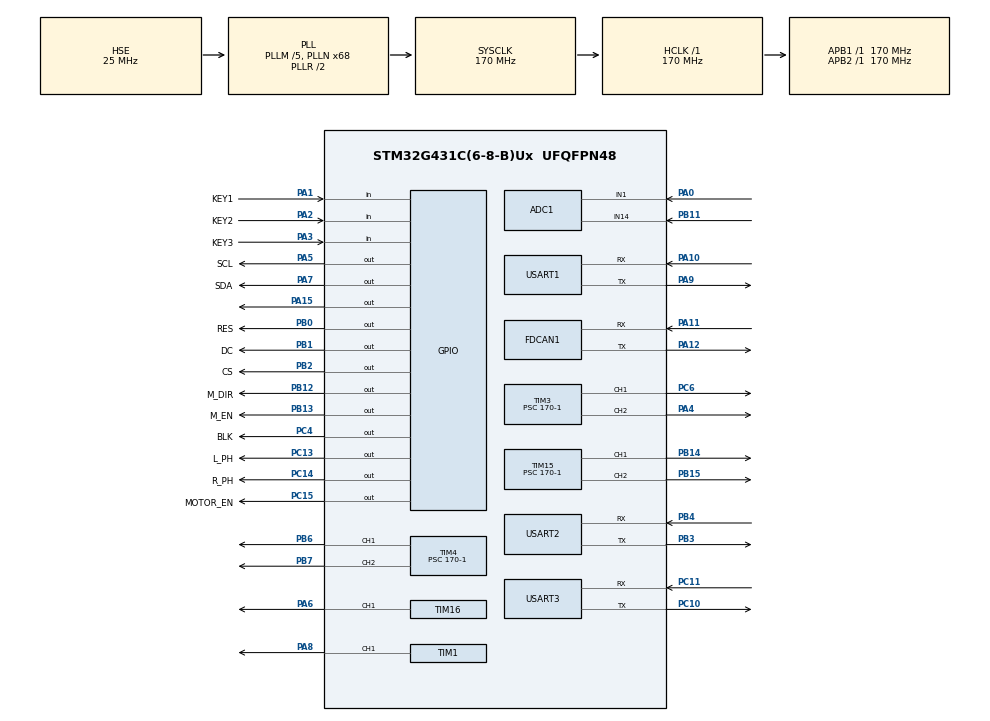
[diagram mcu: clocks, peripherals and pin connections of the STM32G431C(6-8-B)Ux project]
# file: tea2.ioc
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ADC1.Channel-0\#ChannelRegularConversion=ADC_CHANNEL_1
ADC1.NbrOfConversionFlag=1
ADC1.OffsetNumber-0\#ChannelRegularConversion=ADC_OFFSET_NONE
ADC1.Rank-0\#ChannelRegularConversion=1
ADC1.SamplingTime-0\#ChannelRegularConversion=ADC_SAMPLETIME_2CYCLES_5
ADC1.master=1
FDCAN1.CalculateBaudRateNominal=2125000
FDCAN1.CalculateTimeBitNominal=470
FDCAN1.CalculateTimeQuantumNominal=94.11764705882354
Mcu.Family=STM32G4
Mcu.Name=STM32G431C(6-8-B)Ux
Mcu.Package=UFQFPN48
NVIC.PriorityGroup=NVIC_PRIORITYGROUP_2
NVIC.TIM1_TRG_COM_TIM17_IRQn=true\:1\:2\:true\:false\:true\:true\:true\:true
NVIC.TIM7_IRQn=true\:1\:1\:true\:false\:true\:true\:true\:true
NVIC.USART2_IRQn=true\:0\:0\:false\:false\:true\:true\:true\:true
PA0.Mode=IN1-Single-Ended
PA0.Signal=ADC1_IN1
PA1.GPIO_Label=KEY1
PA1.GPIO_PuPd=GPIO_PULLUP
PA1.Signal=GPIO_Input
PA10.Mode=Asynchronous
PA10.Signal=USART1_RX
PA11.Mode=FDCAN_Activate
PA11.Signal=FDCAN1_RX
PA12.Mode=FDCAN_Activate
PA12.Signal=FDCAN1_TX
PA13.Mode=Serial_Wire
PA13.Signal=SYS_JTMS-SWDIO
PA14.Mode=Serial_Wire
PA14.Signal=SYS_JTCK-SWCLK
PA15.GPIO_Speed=GPIO_SPEED_FREQ_VERY_HIGH
PA15.Signal=GPIO_Output
PA2.GPIO_Label=KEY2
PA2.GPIO_PuPd=GPIO_PULLUP
PA2.Signal=GPIO_Input
PA3.GPIO_Label=KEY3
PA3.GPIO_PuPd=GPIO_PULLUP
PA3.Signal=GPIO_Input
PA4.Signal=S_TIM3_CH2
PA5.GPIO_Label=SCL
PA5.GPIO_Speed=GPIO_SPEED_FREQ_VERY_HIGH
PA5.Signal=GPIO_Output
PA6.Signal=S_TIM16_CH1
PA7.GPIO_Label=SDA
PA7.GPIO_Speed=GPIO_SPEED_FREQ_VERY_HIGH
PA7.Signal=GPIO_Output
PA8.Signal=S_TIM1_CH1
PA9.Mode=Asynchronous
PA9.Signal=USART1_TX
PB0.GPIO_Label=RES
PB0.GPIO_Speed=GPIO_SPEED_FREQ_HIGH
PB0.Signal=GPIO_Output
PB1.GPIO_Label=DC
PB1.GPIO_Speed=GPIO_SPEED_FREQ_HIGH
PB1.Signal=GPIO_Output
PB11.Mode=IN14-Single-Ended
PB11.Signal=ADC1_IN14
PB12.GPIO_Label=M_DIR
PB12.GPIO_Speed=GPIO_SPEED_FREQ_HIGH
PB12.Signal=GPIO_Output
PB13.GPIO_Label=M_EN
PB13.GPIO_Speed=GPIO_SPEED_FREQ_HIGH
PB13.Signal=GPIO_Output
PB14.GPIO_Speed=GPIO_SPEED_FREQ_HIGH
PB14.Signal=S_TIM15_CH1
PB15.Signal=S_TIM15_CH2
PB2.GPIO_Label=CS
PB2.GPIO_Speed=GPIO_SPEED_FREQ_HIGH
PB2.Signal=GPIO_Output
PB3.Mode=Asynchronous
PB3.Signal=USART2_TX
PB4.Mode=Asynchronous
PB4.Signal=USART2_RX
PB6.Signal=S_TIM4_CH1
PB7.Signal=S_TIM4_CH2
PC10.Mode=Asynchronous
PC10.Signal=USART3_TX
PC11.Mode=Asynchronous
PC11.Signal=USART3_RX
PC13.GPIO_Label=L_PH
PC13.Signal=GPIO_Output
PC14-OSC32_IN.GPIO_Label=R_PH
PC14-OSC32_IN.Signal=GPIO_Output
PC15-OSC32_OUT.GPIO_Label=MOTOR_EN
PC15-OSC32_OUT.Signal=GPIO_Output
PC4.GPIO_Label=BLK
PC4.GPIO_Speed=GPIO_SPEED_FREQ_HIGH
PC4.Signal=GPIO_Output
PC6.Signal=S_TIM3_CH1
PF0-OSC_IN.Mode=HSE-External-Oscillator
PF0-OSC_IN.Signal=RCC_OSC_IN
PF1-OSC_OUT.Mode=HSE-External-Oscillator
PF1-OSC_OUT.Signal=RCC_OSC_OUT
ProjectManager.HeapSize=0x200
ProjectManager.StackSize=0x400
ProjectManager.TargetToolchain=MDK-ARM V5.32
RCC.ADC12Freq_Value=170000000
RCC.AHBFreq_Value=170000000
RCC.APB1Freq_Value=170000000
RCC.APB1TimFreq_Value=170000000
RCC.APB2Freq_Value=170000000
RCC.APB2TimFreq_Value=170000000
RCC.CortexFreq_Value=170000000
RCC.EXTERNAL_CLOCK_VALUE=12288000
RCC.HCLKFreq_Value=170000000
RCC.HSE_VALUE=25000000
RCC.HSI48_VALUE=48000000
RCC.HSI_VALUE=16000000
RCC.LSE_VALUE=32768
RCC.PLLM=RCC_PLLM_DIV5
RCC.PLLN=68
RCC.PLLSourceVirtual=RCC_PLLSOURCE_HSE
RCC.SYSCLKFreq_VALUE=170000000
RCC.SYSCLKSource=RCC_SYSCLKSOURCE_PLLCLK
RCC.USBFreq_Value=170000000
RCC.VCOOutputFreq_Value=340000000
SH.S_TIM15_CH1.0=TIM15_CH1,PWM Generation1 CH1
SH.S_TIM15_CH2.0=TIM15_CH2,PWM Generation2 CH2
SH.S_TIM16_CH1.0=TIM16_CH1,PWM Generation1 CH1
SH.S_TIM1_CH1.0=TIM1_CH1,PWM Generation1 CH1
SH.S_TIM3_CH1.0=TIM3_CH1,PWM Generation1 CH1
SH.S_TIM3_CH2.0=TIM3_CH2,PWM Generation2 CH2
SH.S_TIM4_CH1.0=TIM4_CH1,PWM Generation1 CH1
SH.S_TIM4_CH2.0=TIM4_CH2,PWM Generation2 CH2
TIM1.Channel-PWM\ Generation1\ CH1=TIM_CHANNEL_1
TIM1.PeriodNoDither=1000-1
TIM1.Prescaler=170-1
TIM15.Channel-PWM\ Generation1\ CH1=TIM_CHANNEL_1
TIM15.Channel-PWM\ Generation2\ CH2=TIM_CHANNEL_2
TIM15.PeriodNoDither=1000-1
TIM15.Prescaler=170-1
TIM15.PulseNoDither_1=1000-1
TIM15.PulseNoDither_2=1000-1
TIM16.Channel=TIM_CHANNEL_1
TIM17.PeriodNoDither=10000-1
TIM17.Prescaler=17-1
TIM3.Channel-PWM\ Generation1\ CH1=TIM_CHANNEL_1
TIM3.Channel-PWM\ Generation2\ CH2=TIM_CHANNEL_2
TIM3.PeriodNoDither=1000-1
TIM3.Prescaler=170-1
TIM4.Channel-PWM\ Generation1\ CH1=TIM_CHANNEL_1
TIM4.Channel-PWM\ Generation2\ CH2=TIM_CHANNEL_2
TIM4.PeriodNoDither=0
TIM4.Prescaler=170-1
TIM4.PulseNoDither_1=0
TIM4.PulseNoDither_2=20000-1
TIM7.PeriodNoDither=10000-1
TIM7.Prescaler=17-1
USART1.VirtualMode-Asynchronous=VM_ASYNC
USART2.VirtualMode-Asynchronous=VM_ASYNC
USART3.VirtualMode-Asynchronous=VM_ASYNC
VP_SYS_VS_DBSignals.Mode=DisableDeadBatterySignals
VP_TIM15_VS_ClockSourceINT.Mode=Internal
VP_TIM16_VS_ClockSourceINT.Mode=Enable_Timer
VP_TIM17_VS_ClockSourceINT.Mode=Enable_Timer
VP_TIM7_VS_ClockSourceINT.Mode=Enable_Timer
board=custom

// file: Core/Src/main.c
/* USER CODE BEGIN Header */
/**
  ******************************************************************************
  * @file           : main.c
  * @brief          : Main program body
  ******************************************************************************
  * @attention
  *
  * Copyright (c) 2024 STMicroelectronics.
  * All rights reserved.
  *
  * This software is licensed under terms that can be found in the LICENSE file
  * in the root directory of this software component.
  * If no LICENSE file comes with this software, it is provided AS-IS.
  *
  ******************************************************************************
  */
/* USER CODE END Header */
#include "main.h"
#include "adc.h"
#include "fdcan.h"
#include "tim.h"
#include "usart.h"
#include "gpio.h"

/* USER CODE BEGIN Includes */

#include "commond.h"
#include "shell_port.h"

/* USER CODE END Includes */

/* USER CODE BEGIN PM */

volatile uint8_t Usart2_RxCompleted;
uint16_t Usart2_RxCounter = 0;
char rx_byte[1] = {0};
char Usart2_RxBuff[USART2_RXBUFF_SIZE];

/* USER CODE END PM */

/* USER CODE BEGIN PV */
unsigned char wifi_flag = 1;

extern STP_TYPEDEFT g_stepper;
extern task_t taskList[TaskListNum];

enum taskID taskName;

/* USER CODE END PV */

void SystemClock_Config(void);

/* USER CODE BEGIN 0 */

void System_Init(void)//初始化
{
	LetterShell_Init(); //Shell初始化

	// 开启 PWM 输出
	pwm_start();
    beep_on(mode1);

	//时间片轮询初始化
    Task_Init(taskList, TaskListNum, 1); // 时间片为1ms
    HAL_TIM_Base_Start_IT(&htim17); //1ms

//	uart_init();
	// 使能接收中断
//	HAL_UART_Receive_IT(&huart2, Usart2_RxBuff, USART2_RXBUFF_SIZE);
//	HAL_UART_Receive_IT(&huart2, (uint8_t *)rx_byte, 1);
	//开启空闲中断
//	__HAL_UART_ENABLE_IT(&huart2, UART_IT_IDLE);

	// 启动DMA接收
//    HAL_UART_Receive_DMA(&huart2, (uint8_t *)Usart2_RxBuff, USART2_RXBUFF_SIZE);
//	HAL_UART_Transmit_DMA(&huart2, Usart2_TxBuff, USART2_TXBUFF_SIZE);

    key_driver_init();//按键初始化
	StepperMotor_Init(&g_stepper);

    Meun_Init();//LCD初始化

//	printf("OK!\r\n");//初始化结束
}

/* USER CODE END 0 */

int main(void)
{
  /* USER CODE BEGIN 1 */

	uint8_t val = 0;
	float Angle_val = 90.0f;
	float Angle2_val = 90.0f;

  /* USER CODE END 1 */

  /* MCU Configuration--------------------------------------------------------*/

  /* Reset of all peripherals, Initializes the Flash interface and the Systick. */
  HAL_Init();

  /* Configure the system clock */
  SystemClock_Config();

  /* Initialize all configured peripherals */
  MX_GPIO_Init();
  MX_ADC1_Init();
  MX_FDCAN1_Init();
  MX_TIM1_Init();
  MX_TIM3_Init();
  MX_TIM4_Init();
  MX_TIM15_Init();
  MX_TIM17_Init();
  MX_USART1_UART_Init();
  MX_USART2_UART_Init();
  MX_USART3_UART_Init();
  MX_TIM16_Init();
  MX_TIM7_Init();
  /* USER CODE BEGIN 2 */

	System_Init();

//    // 示例：旋转90度
//    StepperMotor_SetAngle(&g_stepper, 90.0f);
//    while(StepperMotor_IsMoving(&g_stepper)); // 等待完成
//
//    HAL_Delay(5000);
//
//    // 示例：反向旋转180度
//    StepperMotor_SetAngle(&g_stepper, -180.0f);
//    while(StepperMotor_IsMoving(&g_stepper)); // 等待完成

//	HAL_GPIO_WritePin(GPIOC, GPIO_PIN_15, GPIO_PIN_SET);
//	Set_motor1_speed(500);
//	HAL_GPIO_WritePin(GPIOC, GPIO_PIN_13, GPIO_PIN_SET);
//	Set_motor2_speed(900);
//	HAL_GPIO_WritePin(GPIOC, GPIO_PIN_14, GPIO_PIN_SET);

//	wifi_flag = WiFi_Connect_IoTServer();

  /* USER CODE END 2 */

  /* Infinite loop */
  /* USER CODE BEGIN WHILE */
    while (1)
    {
//		if(wifi_flag != 0)
//		{
//			WiFi_Connect_IoTServer();
//		}
		Servo1_Angle(Angle_val);
		Servo2_Angle(Angle2_val);
		Water1_Speed(val);

		shellTask(&shell);
		LCD_PLAY();

    /* USER CODE END WHILE */

    }
}

void SystemClock_Config(void)
{
  RCC_OscInitTypeDef RCC_OscInitStruct = {0};
  RCC_ClkInitTypeDef RCC_ClkInitStruct = {0};

  /** Configure the main internal regulator output voltage
  */
  HAL_PWREx_ControlVoltageScaling(PWR_REGULATOR_VOLTAGE_SCALE1_BOOST);

  /** Initializes the RCC Oscillators according to the specified parameters
  * in the RCC_OscInitTypeDef structure.
  */
  RCC_OscInitStruct.OscillatorType = RCC_OSCILLATORTYPE_HSE;
  RCC_OscInitStruct.HSEState = RCC_HSE_ON;
  RCC_OscInitStruct.PLL.PLLState = RCC_PLL_ON;
  RCC_OscInitStruct.PLL.PLLSource = RCC_PLLSOURCE_HSE;
  RCC_OscInitStruct.PLL.PLLM = RCC_PLLM_DIV5;
  RCC_OscInitStruct.PLL.PLLN = 68;
  RCC_OscInitStruct.PLL.PLLP = RCC_PLLP_DIV2;
  RCC_OscInitStruct.PLL.PLLQ = RCC_PLLQ_DIV2;
  RCC_OscInitStruct.PLL.PLLR = RCC_PLLR_DIV2;
  if (HAL_RCC_OscConfig(&RCC_OscInitStruct) != HAL_OK)
  {
    Error_Handler();
  }

  /** Initializes the CPU, AHB and APB buses clocks
  */
  RCC_ClkInitStruct.ClockType = RCC_CLOCKTYPE_HCLK|RCC_CLOCKTYPE_SYSCLK
                              |RCC_CLOCKTYPE_PCLK1|RCC_CLOCKTYPE_PCLK2;
  RCC_ClkInitStruct.SYSCLKSource = RCC_SYSCLKSOURCE_PLLCLK;
  RCC_ClkInitStruct.AHBCLKDivider = RCC_SYSCLK_DIV1;
  RCC_ClkInitStruct.APB1CLKDivider = RCC_HCLK_DIV1;
  RCC_ClkInitStruct.APB2CLKDivider = RCC_HCLK_DIV1;

  if (HAL_RCC_ClockConfig(&RCC_ClkInitStruct, FLASH_LATENCY_4) != HAL_OK)
  {
    Error_Handler();
  }
}

/* USER CODE BEGIN 4 */
int fputc(int ch,FILE *f)
{
    //采用轮询方式发送1字节数据，超时时间设置为无限等待
    HAL_UART_Transmit(&huart1,(uint8_t *)&ch,1,HAL_MAX_DELAY);
    return ch;
}

int fgetc(FILE *f)
{
    uint8_t ch;
    // 采用轮询方式接收 1字节数据，超时时间设置为无限等待
    HAL_UART_Receive( &huart1,(uint8_t*)&ch,1, HAL_MAX_DELAY );
    return ch;
}

/* USER CODE END 4 */

void Error_Handler(void)
{
    __disable_irq();
    while (1)
    {
    }
}
